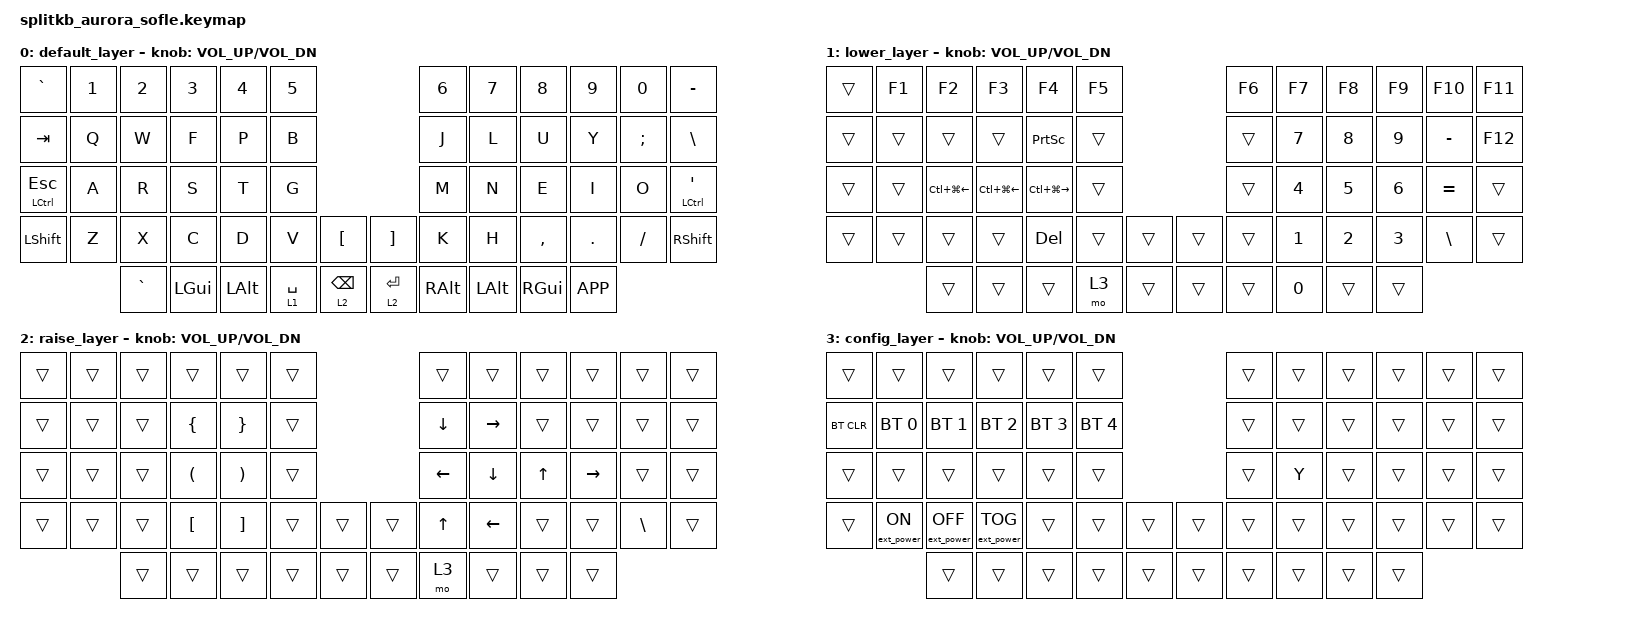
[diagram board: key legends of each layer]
/*
 * Copyright (c) 2023 The ZMK Contributors
 *
 * SPDX-License-Identifier: MIT
 */

#include <behaviors.dtsi>
#include <dt-bindings/zmk/keys.h>
#include <dt-bindings/zmk/bt.h>
#include <dt-bindings/zmk/ext_power.h>

/* Uncomment this block if using RGB
&led_strip {
    chain-length = <6>;
    // chain-length = <35>; // Uncomment if using both per-key and underglow LEDs
    // chain-length = <29>; // Uncomment if using only per-key LEDs.
};
 */

/ {

    combos {
        compatible = "zmk,combos";

        combo_esc_1 {
            timeout-ms = <50>;
            key-positions = <0 1>;
            bindings = <&kp ESC>;
        };
        combo_esc_2 {
            timeout-ms = <50>;
            key-positions = <12 13>;
            bindings = <&kp ESC>;
        };
        combo_esc_3 {
            timeout-ms = <50>;
            key-positions = <53 56>;
            bindings = <&kp ESC>;
        };
    };

    keymap {
        compatible = "zmk,keymap";

        default_layer {
// ---------------------------------------------------------                             -------------------------------------------------------
// |    `     |   1    |   2    |   3    |   4    |   5    |                             |   6    |   7    |   8    |   9    |   0    |   -     |
// |    TAB   |   Q    |   W    |   F    |   P    |   B    |                             |   J    |   L    |   U    |   Y    |   ;    |   \     |
// | CTRL ESC |   A    |   R    |   S    |   T    |   G    |                             |   M    |   N    |   E    |   I    |   O    |  CTRL ' |
// | SHIFT    |   Z    |   X    |   C    |   D    |   V    |  "["  |             |  "]"  |   K    |   H    |   ,    |   .    |   /    |  SHIFT  |
//                     |   `    |  GUI   |  ALT   |  SPACE  |  BSPC   |      |   ENT   |   RALT   |  ALT   |  GUI   | MENU   |
//                                                | (LOWER) | (RAISE) |      | (RAISE) |          |
            bindings = <
&kp GRAVE     &kp N1  &kp N2    &kp N3    &kp N4    &kp N5                            &kp N6     &kp N7   &kp N8    &kp N9   &kp N0    &kp MINUS
&kp TAB       &kp Q   &kp W     &kp F     &kp P     &kp B                             &kp J      &kp L    &kp U     &kp Y    &kp SEMI  &kp BSLH
&mt LCTRL ESC &kp A   &kp R     &kp S     &kp T     &kp G                             &kp M      &kp N    &kp E     &kp I    &kp O     &mt LCTRL SQT
&kp LSHFT     &kp Z   &kp X     &kp C     &kp D     &kp V       &kp LBKT    &kp RBKT  &kp K      &kp H    &kp COMMA &kp DOT  &kp FSLH  &kp RSHFT
                      &kp GRAVE &kp LGUI  &kp LALT  &lt 1 SPACE &lt 2 BSPC  &lt 2 RET &kp RALT   &kp LALT &kp RGUI  &kp K_APP
            >;

            sensor-bindings = <&inc_dec_kp C_VOL_UP C_VOL_DN>;
        };

        lower_layer {
// --------------------------------------------------------                            -------------------------------------------------------
// |         |   F1   |   F2   |   F3   |   F4   |   F5   |                            |   F6   |   F7   |   F8   |   F9   |   F10  |   F11   |
// |         |        |        |        | PRTSCR |        |                            |        |    7   |    8   |    9   |    -   |   F12   |
// |         | C-G-L  | C-G-L  | C-G-L  |  C-G-R |        |                            |        |    4   |    5   |    6   |    =   |         |
// |         |        |        |        |   DEL  |        |         |        |         |        |    1   |    2   |    3   |    \   |         |
//                    |        |        |        |   SPEC  |        |        |       |          |    0   |        |        |
//                                               |         |        |        |       |          |
            bindings = <
&trans     &kp F1     &kp F2           &kp F3         &kp F4             &kp F5                       &kp F6   &kp F7   &kp F8   &kp F9   &kp F10      &kp F11
&trans     &trans     &trans           &trans         &kp PSCRN          &trans                       &trans   &kp N7   &kp N8   &kp N9   &kp MINUS    &kp F12
&trans     &trans     &kp LC(LG(LEFT)) &kp LC(LG(LEFT)) &kp LC(LG(RIGHT))  &trans                       &trans   &kp N4   &kp N5   &kp N6   &kp EQUAL    &trans
&trans     &trans     &trans           &trans         &kp DEL            &trans    &trans   &trans    &trans   &kp N1   &kp N2   &kp N3   &kp BSLH     &trans
                      &trans           &trans         &trans             &mo 3     &trans   &trans    &trans   &kp N0   &trans   &trans
            >;

            sensor-bindings = <&inc_dec_kp C_VOL_UP C_VOL_DN>;
        };

        raise_layer {
// --------------------------------------------------------                           ------------------------------------------------------
// |         |        |        |        |        |        |                           |   v    |   ->   |        |        |        |        |
// |         |        |        |   {    |   }    |        |                           |        |        |        |        |        |        |
// |         |        |        |   (    |   )    |        |                           |   <-   |   v    |   ^    |   ->   |        |        |
// |         |        |        |   [    |   ]    |        |         |        |        |   ^    |   <-   |        |        |   \    |        |
//                    |        |        |        |          |       |        |      |   SPEC   |        |        |        |
//                                               |          |       |        |      |          |
            bindings = <
&trans   &trans  &trans  &trans    &trans    &trans                         &trans     &trans    &trans    &trans    &trans    &trans
&trans   &trans  &trans  &kp LBRC  &kp RBRC  &trans                         &kp DOWN   &kp RIGHT &trans    &trans    &trans    &trans
&trans   &trans  &trans  &kp LPAR  &kp RPAR  &trans                         &kp LEFT   &kp DOWN  &kp UP    &kp RIGHT &trans    &trans
&trans   &trans  &trans  &kp LBKT  &kp RBKT  &trans     &trans   &trans     &kp UP     &kp LEFT  &trans    &trans    &kp BSLH  &trans
                 &trans  &trans    &trans    &trans     &trans   &trans     &mo 3      &trans    &trans    &trans
            >;

            sensor-bindings = <&inc_dec_kp C_VOL_UP C_VOL_DN>;
        };

        config_layer {
// --------------------------------------------------------                      ------------------------------------------------------
// |         |        |        |        |        |        |                      |        |        |        |        |        |        |  12
// |  BTCLR  |  BT1   |  BT2   |  BT3   |  BT4   |  BT5   |                      |        |        |        |        |        |        |  24
// |         |        |        |        |        |        |                      |        |    y   |        |        |        |        |  36
// |         | EP_ON  | EP_OFF | EP_TOG |        |        |        |    |        |        |        |        |        |        |        |  50
//                    |        |        |        |        |        |    |        |        |        |        |        |
//			51        52	    53        54      55      	     56      57
            bindings = <
&trans      &trans            &trans            &trans            &trans        &trans                              &trans    &trans    &trans    &trans    &trans    &trans
&bt BT_CLR  &bt BT_SEL 0      &bt BT_SEL 1      &bt BT_SEL 2      &bt BT_SEL 3  &bt BT_SEL 4                        &trans    &trans    &trans    &trans    &trans    &trans
&trans      &trans            &trans            &trans            &trans        &trans                              &trans    &kp Y     &trans    &trans    &trans    &trans
&trans      &ext_power EP_ON  &ext_power EP_OFF &ext_power EP_TOG &trans        &trans        &trans   &trans       &trans    &trans    &trans    &trans    &trans    &trans
                              &trans            &trans            &trans        &trans        &trans   &trans       &trans    &trans    &trans    &trans
            >;

            sensor-bindings = <&inc_dec_kp C_VOL_UP C_VOL_DN>;
        };
    };


};


